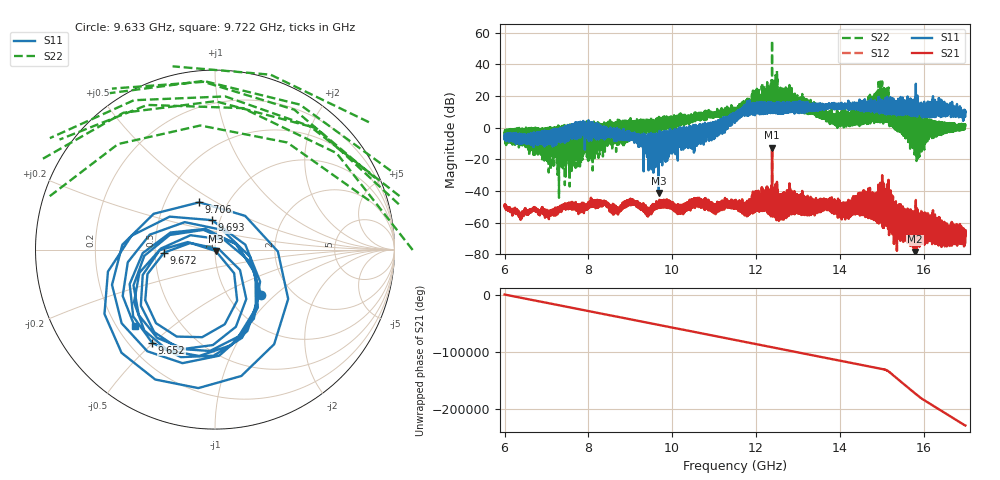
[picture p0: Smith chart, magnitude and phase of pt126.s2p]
#  HZ  S  RI  R  50.00
! Rohde & Schwarz Vector Network Analyzer
! Rohde-Schwarz,ZNA67-2Port,1332450062101215,3.01
! Created: UTC 10/19/2026, 5:16:55 PM
! freq[Hz]  re:S11  im:S11  re:S21  im:S21  re:S12  im:S12  re:S22  im:S22
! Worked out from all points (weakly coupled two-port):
!   11001 points, 6 GHz to 17 GHz, reference 50 ohm
!   highest |S21| = -12.56 dB at 12.38 GHz (marker M1); lowest = -78.4 dB at 15.8 GHz (marker M2)
!   lowest |S11| = -41.3 dB at 9.681 GHz (marker M3), VSWR 1.02, Z = 50.4 - j0.761 ohm
!   |S11| at or under -10 dB: 9.386659 GHz to 9.391352 GHz (4.693 MHz wide, 0.05 % of centre); 9.398593 GHz to 9.403037 GHz (4.443 MHz wide, 0.0473 % of centre); 9.678931 GHz to 9.683054 GHz (4.123 MHz wide, 0.0426 % of centre) (the widest 3 of 140)
!   |S22| runs from -44.4 to 55.1 dB; largest |S21 - S12| = 0.0096
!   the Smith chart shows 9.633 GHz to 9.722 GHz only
!   S11 on the Smith chart (normalised r, x): 9.633 GHz: 1.42, -0.82; 9.652 GHz: 0.29, -0.50; 9.672 GHz: 0.56, -0.02; 9.693 GHz: 0.92, +0.31; 9.706 GHz: 0.74, +0.42; 9.722 GHz: 0.27, -0.38
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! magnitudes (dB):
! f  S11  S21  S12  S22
! 6 GHz  -5.1  -49.3  -49.1  -2.6
! 6.386 GHz  -8.6  -56.4  -56.1  -5.1
! 7.834 GHz  -4.2  -52.5  -52.2  -16.4
! 8.37 GHz  -5.2  -48.0  -47.9  -15.0
! 8.715 GHz  -2.3  -52.2  -52.2  3.7
! 9.048 GHz  -7.1  -48.1  -47.9  -5.3
! 9.427 GHz  -7.0  -51.6  -51.3  5.1
! 9.633 GHz  -8.9  -49.7  -49.9  1.5
! 9.652 GHz  -4.1  -49.3  -49.5  0.6
! 9.667 GHz  -7.0  -50.6  -51.0  -2.0
! 9.672 GHz  -10.9  -47.0  -47.3  4.0
! 9.681 GHz  -41.3  -49.1  -49.6  4.6
! 9.693 GHz  -15.6  -48.5  -48.9  3.8
! 9.706 GHz  -11.1  -47.8  -48.1  5.4
! 9.722 GHz  -4.2  -49.3  -49.8  1.5
! 11.5 GHz  4.2  -49.6  -49.7  9.4
! 12.38 GHz  10.0  -12.6  -12.4  55.1
! 13.33 GHz  11.7  -50.7  -50.8  10.5
! 13.96 GHz  14.5  -48.5  -48.8  7.8
! 15.17 GHz  10.8  -59.8  -59.3  3.4
! 15.8 GHz  9.0  -78.4  -78.4  -16.7
! 17 GHz  9.8  -68.2  -67.3  1.4
